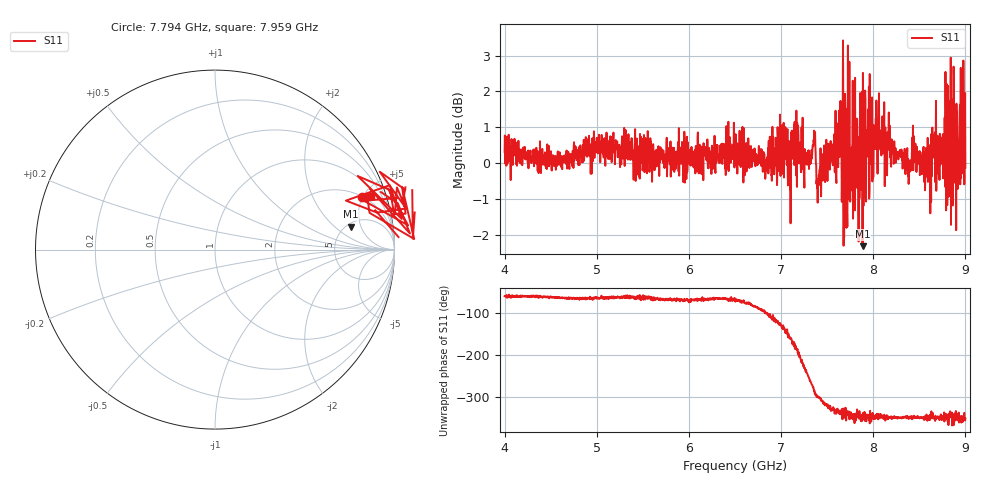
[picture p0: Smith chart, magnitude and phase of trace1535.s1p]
! Created with skrf 1.8.0 (http://scikit-rf.org).
# Hz S RI R 50.0
!freq ReS11 ImS11
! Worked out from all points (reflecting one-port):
!   1601 points, 4 GHz to 9 GHz, reference 50 ohm
!   lowest |S11| = -2.3 dB at 7.884 GHz (marker M1), VSWR 7.59, Z = 272 + j169 ohm
!   phase of S11 starts at -59 deg and turns -291 deg over the sweep
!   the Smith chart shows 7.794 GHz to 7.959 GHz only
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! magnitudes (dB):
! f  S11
! 4 GHz  0.3
! 4.625 GHz  -0.2
! 5.25 GHz  0.1
! 5.875 GHz  0.3
! 6.5 GHz  0.3
! 6.825 GHz  0.0
! 7.125 GHz  0.1
! 7.262 GHz  0.3
! 7.353 GHz  0.7
! 7.409 GHz  -0.3
! 7.65 GHz  0.6
! 7.659 GHz  -1.1
! 7.703 GHz  0.6
! 7.716 GHz  -1.4
! 7.734 GHz  -0.5
! 7.75 GHz  -1.1
! 7.775 GHz  1.0
! 7.884 GHz  -2.3
! 8.097 GHz  0.6
! 8.375 GHz  0.1
! 8.441 GHz  0.0
! 8.603 GHz  0.1
! 8.656 GHz  0.3
! 8.709 GHz  0.7
! 8.822 GHz  1.5
! 8.903 GHz  1.7
! 8.956 GHz  0.6
! 9 GHz  -0.1
